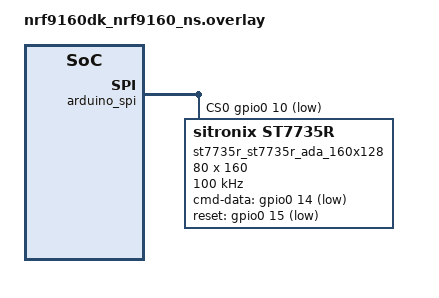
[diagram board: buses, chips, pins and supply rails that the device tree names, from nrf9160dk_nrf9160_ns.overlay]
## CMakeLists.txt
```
# SPDX-License-Identifier: Apache-2.0

cmake_minimum_required(VERSION 3.20.0)


find_package(Zephyr REQUIRED HINTS $ENV{ZEPHYR_BASE})
project(viking_tft)

FILE(GLOB app_sources src/*.c)
target_sources(app PRIVATE ${app_sources})
```

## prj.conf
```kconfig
CONFIG_LV_Z_MEM_POOL_NUMBER_BLOCKS=8
CONFIG_MAIN_STACK_SIZE=4096

CONFIG_DISPLAY=y
CONFIG_SPI=y
CONFIG_GPIO=y

CONFIG_ST7735R=y
CONFIG_DISPLAY_LOG_LEVEL_ERR=y

CONFIG_LOG=y

CONFIG_LVGL=y
CONFIG_LV_MEM_CUSTOM=y
CONFIG_LV_USE_LOG=y
CONFIG_LV_LOG_PRINTF=y
CONFIG_LV_LOG_LEVEL_ERROR=y
CONFIG_LV_USE_LABEL=y
CONFIG_LV_USE_BTN=y
CONFIG_LV_USE_IMG=y
CONFIG_LV_FONT_MONTSERRAT_14=y

CONFIG_LV_Z_BITS_PER_PIXEL=16
```

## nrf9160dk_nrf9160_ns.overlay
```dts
/*
 * Copyright (c) 2020, Kim Bøndergaard, <kim@fam-boendergaard.dk>
 *
 * SPDX-License-Identifier: Apache-2.0
 */

 / {
	chosen {
		zephyr,display = &st7735r_st7735r_ada_160x128;
	};
 };

&arduino_spi {
	compatible = "nordic,nrf-spim";
	status = "okay";
	cs-gpios = <&gpio0 10 GPIO_ACTIVE_LOW>; /* D10 */
	pinctrl-0 = <&spi3_default>;
	pinctrl-1 = <&spi3_sleep>;
	pinctrl-names = "default", "sleep";

	st7735r_st7735r_ada_160x128: st7735r@0 {
		compatible = "sitronix,st7735r";
		spi-max-frequency = <100000>;
		reg = <0>;
		cmd-data-gpios = <&gpio0 14 GPIO_ACTIVE_LOW>;	
		reset-gpios = <&gpio0 15  GPIO_ACTIVE_LOW>;
		width = <80>;
		height = <160>;
		x-offset = <26>; //26
		y-offset = <1>; //1
		madctl = <0xC8>;
		colmod = <0x05>;
		caset = [00 00 00 4F];
		raset = [00 00 00 9F];
		vmctr1 = <0x0e>;
		invctr = <0x00>;
		pwctr1 = [a2 02 84];
		pwctr2 = [c5];
		pwctr3 = [0a 00];
		pwctr4 = [8a 2a];
		pwctr5 = [8a ee];
		frmctr1 = [01 2c 2d];
		frmctr2 = [01 2c 2d];
		frmctr3 = [01 2c 2d 01 2c 2d];
		gamctrp1 = [02 1c 07 12 37 32 29 2d 29 25 2b 39 00 01 03 10];
		gamctrn1 = [03 1d 07 06 2e 2c 29 2d 2e 2e 37 3f 00 00 02 10];
		inversion-on;
	};
};
```

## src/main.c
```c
/*
 * Copyright (c) 2018 Jan Van Winkel <jan.van_winkel@dxplore.eu>
 *
 * SPDX-License-Identifier: Apache-2.0
 */

#include <zephyr/device.h>
#include <zephyr/drivers/display.h>
#include <lvgl.h>
#include <stdio.h>
#include <string.h>
#include <zephyr/zephyr.h>
#include <sys/printk.h>
#include <drivers/gpio.h>
#include <zephyr/logging/log.h>

#define LOG_LEVEL CONFIG_LOG_DEFAULT_LEVEL

#define SLEEP_TIME_MS   100
#define ENABLE_TFT 		4
#define STATUS_CHARGE 	8
#define STATUS_PGOOD_BATTERY 	7

#define CLOCK 21
#define LOAD 22
#define BLANK 23
#define DATA 24
#define ENABLE_HV 25


/* function declaration */
void display_VFD(int data_array[20]);



void main(void)
{		
	int data1[] = {	1,0,0,1,0,0,0,0,0,
					1,0,0,1,0,0,0,0,0,
					0,0
				};

	int data2[] = {	1,0,1,0,0,0,0,0,0,
					1,0,1,0,0,0,0,0,0,
					0,0
				};

	int data3[] = {	1,0,0,0,0,0,1,0,0,
					1,0,0,0,0,0,1,0,0,
					0,0
				};

	int data4[] = {	1,0,0,0,0,0,0,1,0,
					1,0,0,0,0,0,0,1,0,
					0,0
				};
	int data5[] = {	1,0,0,0,0,0,0,0,1,
					1,0,0,0,0,0,0,0,1,
					0,0
				};	
	
	int data6[] = {	1,0,0,0,1,0,0,0,0,
					1,0,0,0,1,0,0,0,0,
					0,0
				};



	const struct device *display_dev;

	lv_obj_t *label1;
	lv_obj_t *label2;
	lv_obj_t *label3;
	lv_obj_t *label4;

	const struct device *gpio_dev;
	gpio_dev = DEVICE_DT_GET(DT_NODELABEL(gpio0));	
	gpio_pin_configure(gpio_dev, ENABLE_TFT, GPIO_OUTPUT);  // ENABLE HV
	gpio_pin_configure(gpio_dev, STATUS_CHARGE, GPIO_INPUT);  // ENABLE HV
	gpio_pin_configure(gpio_dev, STATUS_PGOOD_BATTERY , GPIO_INPUT);  // ENABLE HV
	gpio_pin_set(gpio_dev, ENABLE_TFT, 0); // Logic LOW enables 3.3v supply for TFT display


	display_dev = DEVICE_DT_GET(DT_CHOSEN(zephyr_display));
	if (!device_is_ready(display_dev)) {
		printk("Could not get device\n", display_dev);
		return;
	}


	label1 = lv_label_create(lv_scr_act());
	label2 = lv_label_create(lv_scr_act());
	label3 = lv_label_create(lv_scr_act());
	label4 = lv_label_create(lv_scr_act());

	lv_label_set_text(label1, "TOR");
	lv_obj_align(label1, LV_ALIGN_CENTER, 0, 0);
	lv_label_set_text(label2, "DESIGN");
	lv_obj_align(label2, LV_ALIGN_CENTER, 0, 15);

	lv_task_handler();
	display_blanking_off(display_dev);


	while (1) {
		display_VFD(data1);
		k_msleep(SLEEP_TIME_MS);
		display_VFD(data2);
		k_msleep(SLEEP_TIME_MS);
		display_VFD(data3);
		k_msleep(SLEEP_TIME_MS);
		display_VFD(data4);
		k_msleep(SLEEP_TIME_MS);
		display_VFD(data5);
		k_msleep(SLEEP_TIME_MS);
		display_VFD(data6);
		k_msleep(SLEEP_TIME_MS);

		int power_good = gpio_pin_get_raw(gpio_dev, STATUS_PGOOD_BATTERY); // 0 indicates valid external power source connected, 1 = no power source
		int bat_charging = gpio_pin_get_raw(gpio_dev, STATUS_CHARGE); // 0 indicates battery charging, 1 = no charging taking place

		if(power_good = 1){
			lv_label_set_text(label3, "Power: OFF");
		}
		char buf1[32];
		char buf2[32];

        snprintf(buf1, 32, "Charge: %d", bat_charging);
		printf(buf2, 32, "Power: %d", power_good); 
		lv_label_set_text(label3, buf1);
		lv_obj_align(label3, LV_ALIGN_BOTTOM_MID, 0, 0);

		lv_label_set_text(label4, buf2);
		lv_obj_align(label4, LV_ALIGN_BOTTOM_MID, 0, -15);

		lv_task_handler();
		
	}
}


// Functions 
void display_VFD(int data_array[20]) {

	const struct device *gpio_dev;
	gpio_dev = DEVICE_DT_GET(DT_NODELABEL(gpio0));	

	gpio_pin_configure(gpio_dev, ENABLE_HV, GPIO_OUTPUT);  // ENABLE HV
    gpio_pin_configure(gpio_dev, CLOCK, GPIO_OUTPUT);  // CLOCK
	gpio_pin_configure(gpio_dev, LOAD, GPIO_OUTPUT);  // LOAD
	gpio_pin_configure(gpio_dev, DATA, GPIO_OUTPUT);  // DATA
	gpio_pin_configure(gpio_dev, BLANK, GPIO_OUTPUT);  // BLANK

	gpio_pin_set(gpio_dev, ENABLE_HV, 1); // Logic HIGH enable voltage supply
	gpio_pin_set(gpio_dev, BLANK, 0); // set blank low for enable driver output
	gpio_pin_set(gpio_dev, LOAD, 1); // LOAD register with falling edge on LOAD


	for(int i = 0; i < 20; i++){
		// bitbang bit array into max6921 driver
		gpio_pin_set(gpio_dev, CLOCK, 0); // set clk low
		gpio_pin_set(gpio_dev, DATA, data_array[i]); // set data pin from data array
		gpio_pin_set(gpio_dev, CLOCK, 1); // set clk high
	}
	gpio_pin_set(gpio_dev, LOAD, 0); 
}
```
